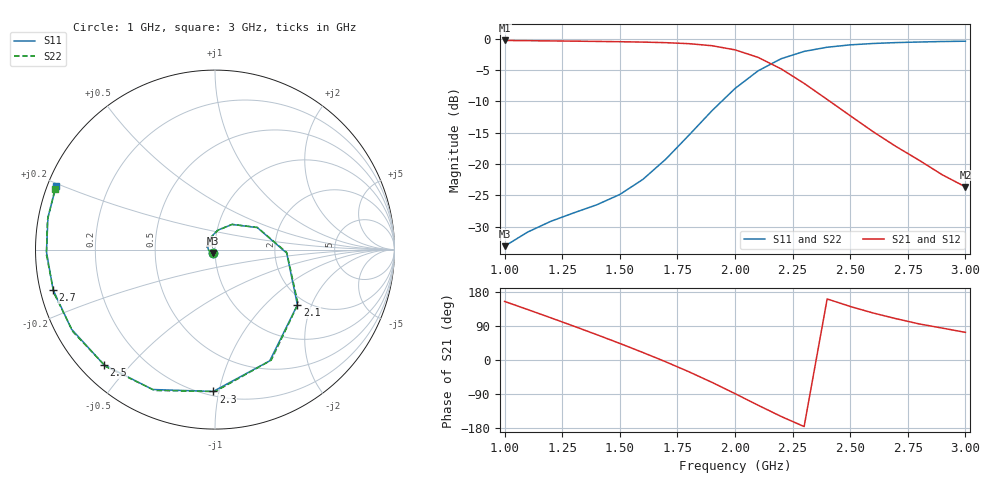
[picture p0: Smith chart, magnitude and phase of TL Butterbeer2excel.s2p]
# GHZ S RI R 50.00000
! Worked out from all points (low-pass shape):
!   21 points, 1 GHz to 3 GHz, reference 50 ohm
!   highest |S21| = -0.30 dB at 1 GHz (marker M1); lowest = -23.6 dB at 3 GHz (marker M2)
!   |S21| within 3 dB of the highest: start of sweep to 2.117 GHz
!   lowest |S11| = -33.1 dB at 1 GHz (marker M3), VSWR 1.05, Z = 48.7 - j1.76 ohm
!   |S11| at or under -10 dB: start of sweep to 1.942 GHz
!   |S22| runs from -33.1 to -0.4 dB; largest |S21 - S12| = 0
!   S11 on the Smith chart (normalised r, x): 1 GHz: 0.97, -0.04; 2.1 GHz: 1.79, -1.59; 2.3 GHz: 0.23, -0.96; 2.5 GHz: 0.07, -0.42; 2.7 GHz: 0.04, -0.12; 3 GHz: 0.02, +0.19
1  -0.0128 -0.018  -0.8729 0.4147  -0.8729 0.4147  -0.0135 -0.0177
1.1  -0.0248 -0.0144  -0.6585 0.702  -0.6585 0.702  -0.0254 -0.0137
1.2  -0.0345 -0.00482  -0.3505 0.8921  -0.3505 0.8921  -0.0349 -0.00381
1.3  -0.0397 0.00918  0.0106 0.9541  0.0106 0.9541  -0.0397 0.0104
1.4  -0.0395 0.0259  0.3736 0.873  0.3736 0.873  -0.039 0.0271
1.5  -0.034 0.0459  0.6823 0.6528  0.6823 0.6528  -0.0331 0.0468
1.6  -0.0198 0.0727  0.8817 0.3191  0.8817 0.3191  -0.0187 0.0731
1.7  0.0157 0.1083  0.9245 -0.0797  0.9245 -0.0797  0.0165 0.1083
1.8  0.0954 0.1403  0.78 -0.4705  0.78 -0.4705  0.0956 0.1404
1.9  0.236 0.1226  0.452 -0.7522  0.452 -0.7522  0.2357 0.1238
2  0.3994 -0.0194  0.0188 -0.8132  0.0188 -0.8132  0.3999 -0.0161
2.1  0.4592 -0.308  -0.3464 -0.6179  -0.3464 -0.6179  0.4629 -0.3031
2.2  0.3052 -0.6196  -0.4913 -0.2965  -0.4913 -0.2965  0.3133 -0.6159
2.3  -0.01 -0.7903  -0.438 -0.0333  -0.438 -0.0333  0.00138 -0.7907
2.4  -0.3472 -0.7795  -0.3096 0.1057  -0.3096 0.1057  -0.335 -0.785
2.5  -0.6182 -0.642  -0.1894 0.1519  -0.1894 0.1519  -0.6074 -0.6525
2.6  -0.7996 -0.4433  -0.101 0.1498  -0.101 0.1498  -0.7914 -0.4578
2.7  -0.9016 -0.2251  -0.0445 0.13  -0.0445 0.13  -0.8973 -0.2424
2.8  -0.9391 -0.0117  -0.00956 0.1065  -0.00956 0.1065  -0.9389 -0.0309
2.9  -0.9303 0.182  0.0083 0.0815  0.0083 0.0815  -0.9338 0.1624
3  -0.8844 0.3556  0.0193 0.0628  0.0193 0.0628  -0.8921 0.336
